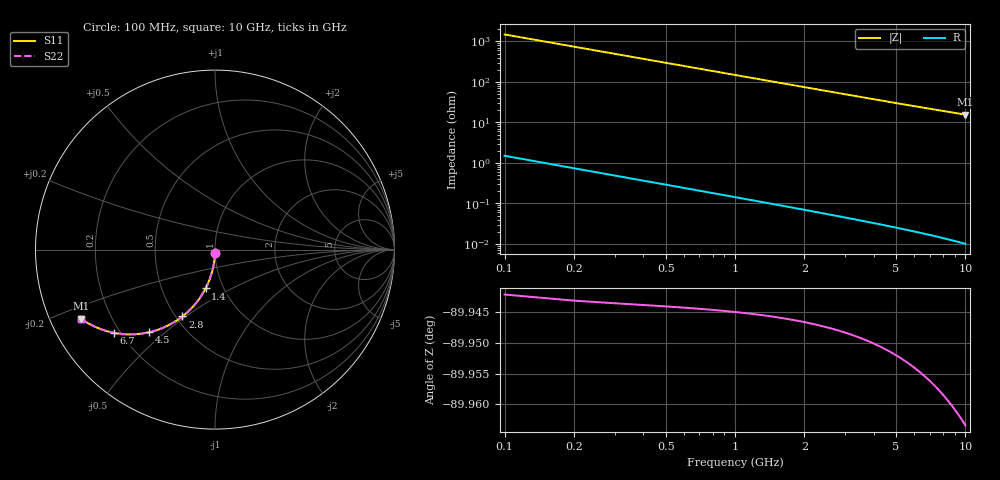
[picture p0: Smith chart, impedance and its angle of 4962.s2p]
# Hz S RI R 50.00
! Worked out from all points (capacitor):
!   100 points, 100 MHz to 10 GHz, reference 50 ohm
!   read as one part in shunt: C = 1.07 pF near 100 MHz
!   lowest |Z| = 15.6 ohm at 10 GHz (marker M1)
!   S11 on the Smith chart (normalised r, x): 100 MHz: 1.00, -0.03; 1.4 GHz: 0.82, -0.37; 2.8 GHz: 0.54, -0.49; 4.5 GHz: 0.31, -0.44; 6.7 GHz: 0.18, -0.35; 10 GHz: 0.09, -0.24
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1e8  -8.5e-05 -0.0163  0.9995 -0.0173  0.9995 -0.0173  -8.5e-05 -0.0163
2e8  -0.000946 -0.0326  0.9986 -0.0345  0.9986 -0.0345  -0.000946 -0.0326
3e8  -0.00237 -0.0489  0.9972 -0.0517  0.9972 -0.0517  -0.00237 -0.0489
4e8  -0.00434 -0.065  0.9952 -0.0688  0.9952 -0.0688  -0.00434 -0.065
5e8  -0.00687 -0.0811  0.9927 -0.0858  0.9927 -0.0858  -0.00687 -0.0811
6e8  -0.00994 -0.097  0.9896 -0.1026  0.9896 -0.1026  -0.00994 -0.097
7e8  -0.0135 -0.1128  0.986 -0.1193  0.986 -0.1193  -0.0135 -0.1128
9e8  -0.0223 -0.1437  0.9772 -0.1521  0.9772 -0.1521  -0.0223 -0.1437
1.1e9  -0.033 -0.1736  0.9665 -0.1839  0.9665 -0.1839  -0.033 -0.1736
1.4e9  -0.0525 -0.2164  0.947 -0.2295  0.947 -0.2295  -0.0525 -0.2164
1.8e9  -0.084 -0.2688  0.9155 -0.2857  0.9155 -0.2857  -0.084 -0.2688
2.3e9  -0.1303 -0.3257  0.869 -0.3473  0.869 -0.3473  -0.1303 -0.3257
2.8e9  -0.1819 -0.3725  0.8173 -0.3987  0.8173 -0.3987  -0.1819 -0.3725
3.4e9  -0.2473 -0.4152  0.7517 -0.4472  0.7517 -0.4472  -0.2473 -0.4152
3.9e9  -0.3022 -0.4406  0.6967 -0.4773  0.6967 -0.4773  -0.3022 -0.4406
4.5e9  -0.3663 -0.4603  0.6323 -0.5027  0.6323 -0.5027  -0.3663 -0.4603
5.1e9  -0.4268 -0.4701  0.5716 -0.5183  0.5716 -0.5183  -0.4268 -0.4701
5.8e9  -0.4915 -0.472  0.5065 -0.5269  0.5065 -0.5269  -0.4915 -0.472
6.7e9  -0.5646 -0.4633  0.4329 -0.5269  0.4329 -0.5269  -0.5646 -0.4633
7.5e9  -0.6202 -0.4486  0.3767 -0.5202  0.3767 -0.5202  -0.6202 -0.4486
8.4e9  -0.6733 -0.4275  0.3229 -0.508  0.3229 -0.508  -0.6733 -0.4275
1e10  -0.7472 -0.3842  0.2476 -0.4809  0.2476 -0.4809  -0.7472 -0.3842
